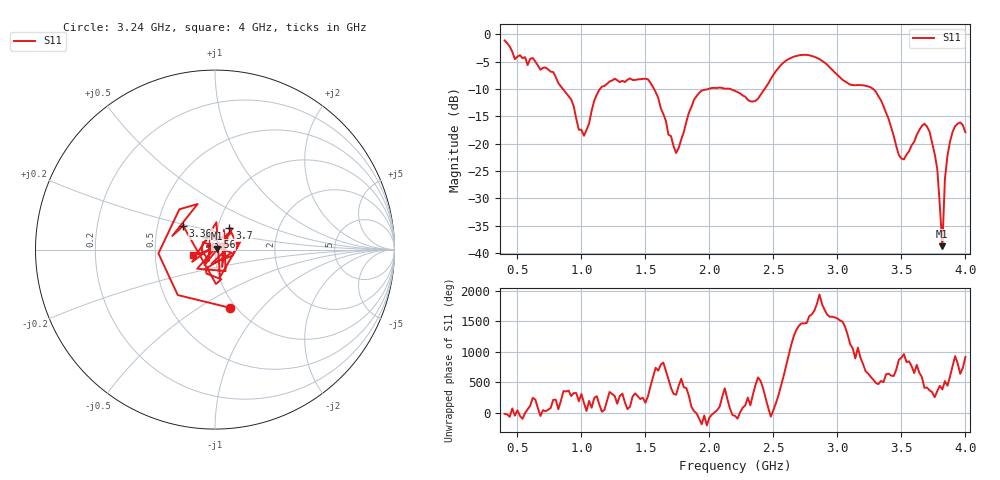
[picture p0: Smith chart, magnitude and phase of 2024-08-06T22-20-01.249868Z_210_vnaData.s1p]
!Created with skrf (http://scikit-rf.org).
# Hz S RI R 50.0
!freq ReS11 ImS11
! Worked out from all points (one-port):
!   181 points, 400 MHz to 4 GHz, reference 50 ohm
!   lowest |S11| = -38.7 dB at 3.82 GHz (marker M1), VSWR 1.02, Z = 51.1 + j0.487 ohm
!   |S11| at or under -10 dB: 855.9 MHz to 1.145 GHz (289.3 MHz wide, 28.9 % of centre); 1.567 GHz to 1.992 GHz (424.6 MHz wide, 23.9 % of centre); 3.28 GHz to end of sweep (the widest 3 of 4)
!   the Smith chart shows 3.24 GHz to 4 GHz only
!   S11 on the Smith chart (normalised r, x): 3.24 GHz: 0.94, -0.68; 3.36 GHz: 0.68, +0.19; 3.56 GHz: 0.90, +0.13; 3.7 GHz: 1.14, +0.28; 4 GHz: 0.78, -0.05
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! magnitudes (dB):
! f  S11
! 400 MHz  -1.1
! 480 MHz  -4.5
! 620 MHz  -4.3
! 860 MHz  -10.1
! 1.02 GHz  -18.6
! 1.14 GHz  -10.2
! 1.3 GHz  -8.7
! 1.52 GHz  -8.2
! 1.6 GHz  -11.6
! 1.74 GHz  -21.7
! 1.76 GHz  -20.8
! 1.92 GHz  -10.7
! 2.2 GHz  -10.3
! 2.36 GHz  -12.2
! 2.66 GHz  -4.1
! 2.86 GHz  -4.5
! 3.1 GHz  -9.2
! 3.24 GHz  -9.5
! 3.36 GHz  -13.1
! 3.48 GHz  -22.1
! 3.56 GHz  -21.4
! 3.7 GHz  -16.9
! 3.78 GHz  -24.6
! 3.82 GHz  -38.7
! 3.84 GHz  -26.4
! 3.88 GHz  -19.6
! 3.94 GHz  -16.3
! 4 GHz  -17.9
